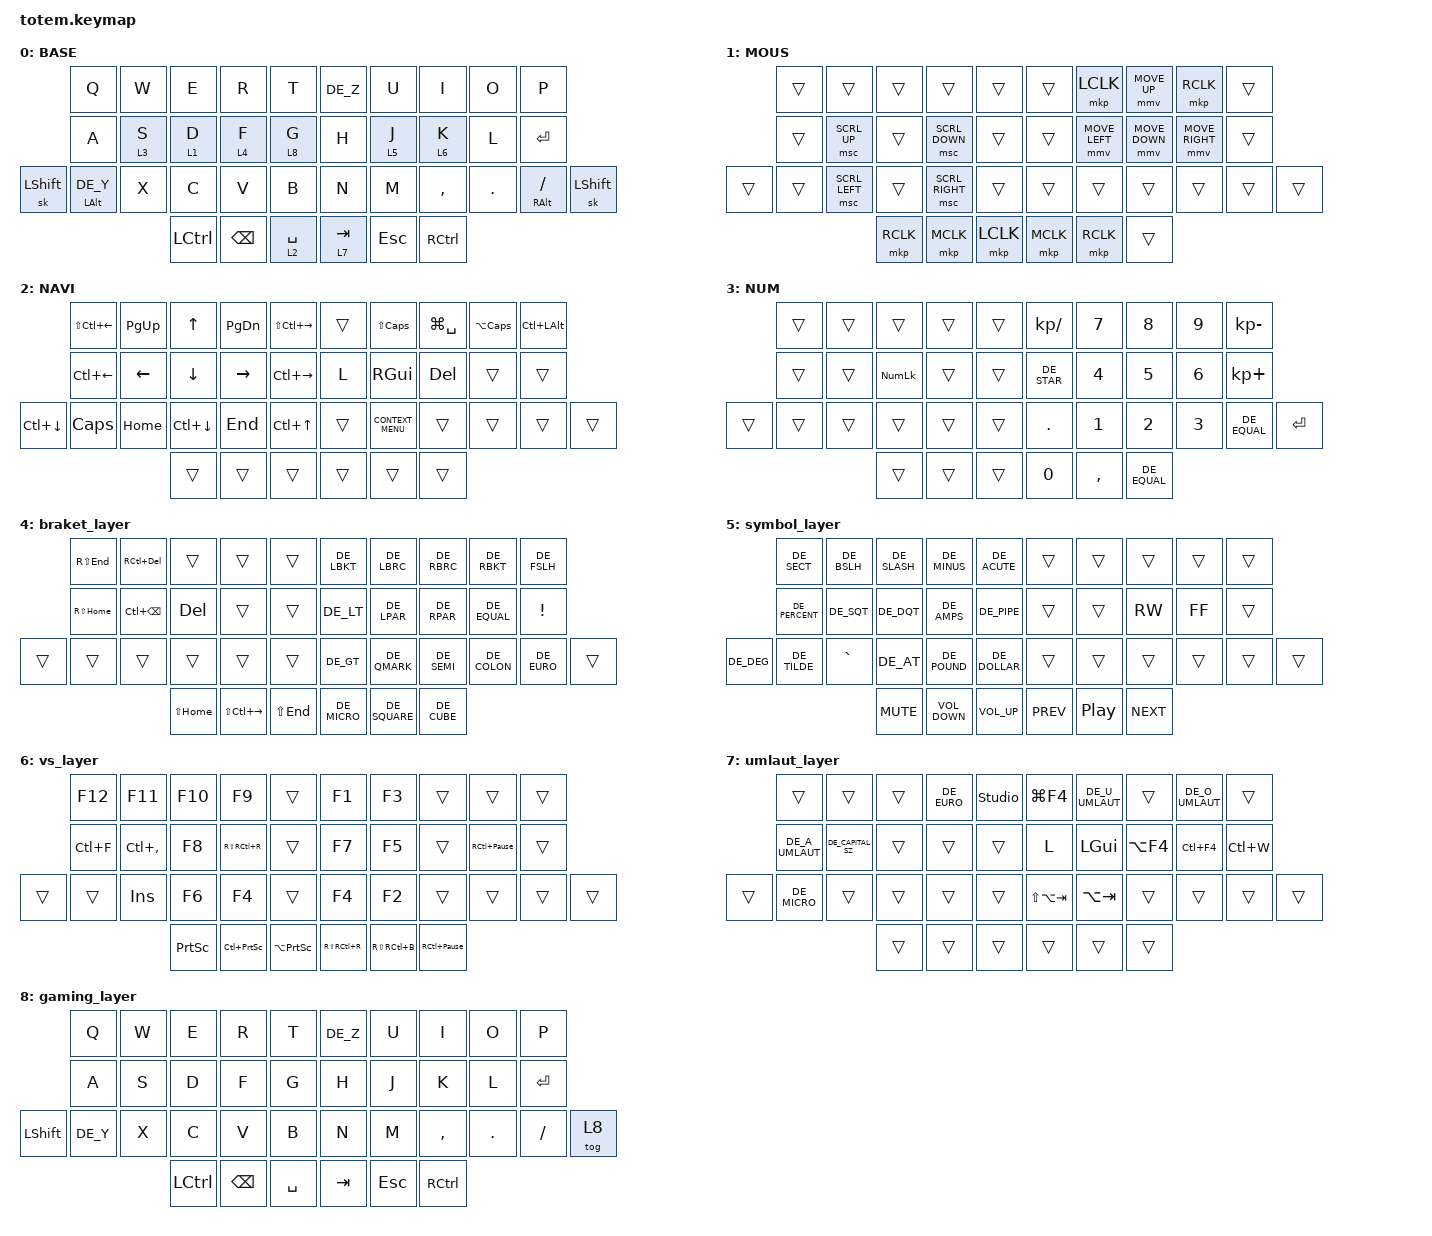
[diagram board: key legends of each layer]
//
//                                                        ▀▀▀▀▀     ▀▀▀▀▀          ▀▀█▀▀
//                                                        ▄▀▀▀▄  ▄  ▄▀▀▀▄  ▄  ▄▀▀▀▄  █  ▄▀▀▀▄
//                                                        █   █  █  █   █  █  █   █  █  █   █
//                                                         ▀▀▀   █   ▀▀▀   █   ▀▀▀   ▀   ▀▀▀
//                                                               █      ▄▄▄█▄▄▄    █   █ nnnyyw
//                                                               ▀      █  █  █     █▄█
//                                                             ▀▀▀▀▀    █  █  █      ▀
//                                                                      ▀  ▀  ▀
//
// ▄▄▄▄▄▄▄▄▄▄▄▄▄▄▄▄▄▄▄▄▄▄▄▄▄▄▄▄▄▄▄▄▄▄▄▄▄▄▄▄▄▄▄▄▄▄▄▄▄▄▄▄▄▄▄▄▄▄▄▄▄▄▄▄▄▄▄▄▄▄▄▄▄▄▄▄▄▄▄▄▄▄▄▄▄▄▄▄▄▄▄▄▄▄▄▄▄▄▄▄▄▄▄▄▄▄▄▄▄▄▄▄▄▄▄▄▄▄▄▄▄▄▄▄▄▄▄▄▄▄▄▄▄▄▄▄▄▄▄▄▄▄▄▄▄▄▄▄▄

#include <behaviors.dtsi>
#include <dt-bindings/zmk/bt.h>
#include <dt-bindings/zmk/keys.h>
#include <dt-bindings/zmk/pointing.h>
#include <dt-bindings/zmk/ext_power.h>
#include <locale/keys_de.h>


#define ZMK_POINTING_DEFAULT_SCRL_VAL 200

&sk {
    release-after-ms = <1000>;
    quick-release;
};

&msc {
    trigger-period-ms = <2>;
    acceleration-exponent = <2>;
};


/ {
    combos { compatible = "zmk,combos"; };

    keymap {
        compatible = "zmk,keymap";

        base_layer {
            label = "BASE";
            bindings = <
                &kp Q           &kp W    &kp E      &kp R     &kp T          &kp DE_Z      &kp U    &kp I      &kp O    &kp P
                &kp A           &lt 3 S  &lt 1 D    &lt 4 F   &lt 8 G        &kp H      &lt 5 J  &lt 6 K    &kp L    &kp ENTER
&sk LEFT_SHIFT  &mt LEFT_ALT DE_Y  &kp X    &kp C      &kp V     &kp B       &kp N      &kp M    &kp COMMA  &kp DOT  &mt RIGHT_ALT SLASH  &sk LEFT_SHIFT
                                         &kp LCTRL  &kp BSPC  &lt 2 SPACE    &lt 7 TAB  &kp ESC  &kp RCTRL
            >;
        };

        mouse_layer {
            label = "MOUS";
            bindings = <
        &trans  &trans          &trans     &trans           &trans       &trans     &mkp LCLK       &mmv MOVE_UP    &mkp RCLK        &trans
        &trans  &msc SCRL_UP    &trans     &msc SCRL_DOWN   &trans       &trans     &mmv MOVE_LEFT  &mmv MOVE_DOWN  &mmv MOVE_RIGHT  &trans
&trans  &trans  &msc SCRL_LEFT  &trans     &msc SCRL_RIGHT  &trans       &trans     &trans          &trans          &trans           &trans  &trans
                                &mkp RCLK  &mkp MCLK        &mkp LCLK    &mkp MCLK  &mkp RCLK       &trans
            >;
        };

        nav_layer {
            label = "NAVI";
            bindings = <
              &kp LS(LC(LEFT))  &kp PG_UP  &kp UP        &kp PG_DN  &kp LS(LC(RIGHT))    &trans  &kp LS(CAPS)        &kp LG(SPACE)  &kp LA(CAPS)  &kp LC(LALT)
              &kp LC(LEFT)      &kp LEFT   &kp DOWN      &kp RIGHT  &kp LC(RIGHT)        &kp L   &kp RGUI            &kp DEL        &trans        &trans
&kp LC(DOWN)  &kp CAPS          &kp HOME   &kp LC(DOWN)  &kp END    &kp LC(UP)           &trans  &kp K_CONTEXT_MENU  &trans         &trans        &trans        &trans
                                           &trans        &trans     &trans               &trans  &trans              &trans
            >;
        };

        num_layer {
            bindings = <
        &trans  &trans  &trans          &trans  &trans    &kp KP_DIVIDE   &kp N7    &kp N8  &kp N9  &kp KP_MINUS
        &trans  &trans  &kp KP_NUMLOCK  &trans  &trans    &kp DE_STAR     &kp N4    &kp N5  &kp N6  &kp KP_PLUS
&trans  &trans  &trans  &trans          &trans  &trans    &kp PERIOD      &kp N1    &kp N2  &kp N3  &kp DE_EQUAL    &kp ENTER
                        &trans          &trans  &trans    &kp N0          &kp COMMA &kp DE_EQUAL
            >;

            label = "NUM";
        };

        braket_layer {
            bindings = <
        &kp RS(END)    &kp RC(DELETE)     &trans        &trans             &trans         &kp DE_LBKT    &kp DE_LBRC    &kp DE_RBRC    &kp DE_RBKT   &kp DE_FSLH
        &kp RS(HOME)   &kp LC(BACKSPACE)  &kp DEL       &trans             &trans         &kp DE_LT      &kp DE_LPAR    &kp DE_RPAR    &kp DE_EQUAL  &kp EXCL
&trans  &trans         &trans             &trans        &trans             &trans         &kp DE_GT      &kp DE_QMARK   &kp DE_SEMI    &kp DE_COLON  &kp DE_EURO   &trans
                                          &kp LS(HOME)  &kp LS(LC(RIGHT))  &kp LS(END)    &kp DE_MICRO   &kp DE_SQUARE  &kp DE_CUBE
            >;
        };

        symbol_layer {
            bindings = <
             &kp DE_SECT     &kp DE_BSLH   &kp DE_SLASH   &kp DE_MINUS       &kp DE_ACUTE        &trans      &trans            &trans      &trans    &trans
             &kp DE_PERCENT  &kp DE_SQT    &kp DE_DQT     &kp DE_AMPS        &kp DE_PIPE         &trans      &trans            &kp C_RW    &kp C_FF  &trans
&kp DE_DEG   &kp DE_TILDE    &kp GRAVE     &kp DE_AT      &kp DE_POUND       &kp DE_DOLLAR       &trans      &trans            &trans      &trans    &trans  &trans
                                           &kp C_MUTE     &kp C_VOLUME_DOWN  &kp C_VOLUME_UP     &kp C_PREV  &kp C_PLAY_PAUSE  &kp C_NEXT
            >;
        };

        vs_layer {
            bindings = <
        &kp F12     &kp F11            &kp F10          &kp F9               &trans                 &kp F1         &kp F3         &trans               &trans               &trans
        &kp LC(F)  &kp LC(COMMA)       &kp F8           &kp RS(RC(R))        &trans                 &kp F7         &kp F5         &trans               &kp RC(PAUSE_BREAK)  &trans
&trans  &trans     &kp INS             &kp F6           &kp F4               &trans                 &kp F4         &kp F2         &trans               &trans               &trans  &trans
                                       &kp PRINTSCREEN  &kp LC(PRINTSCREEN)  &kp LA(PRINTSCREEN)    &kp RS(RC(R))  &kp RS(RC(B))  &kp RC(PAUSE_BREAK)
            >;
        };

        umlaut_layer {
            bindings = <
        &trans            &trans             &trans  &kp DE_EURO    &studio_unlock    &kp LG(F4)          &kp DE_U_UMLAUT   &trans      &kp DE_O_UMLAUT   &trans
        &kp DE_A_UMLAUT   &kp DE_CAPITAL_SZ  &trans  &trans         &trans    &kp L            &kp LEFT_GUI      &kp LA(F4)  &kp LC(F4)        &kp LC(W)
&trans  &kp DE_MICRO      &trans             &trans  &trans         &trans    &kp LS(LA(TAB))  &kp LA(TAB)       &trans      &trans            &trans     &trans
                                             &trans  &trans         &trans    &trans           &trans            &trans
            >;
        };
         
         gaming_layer {
            bindings = <
            &kp Q     &kp W     &kp E    &kp R    &kp T        &kp DE_Z   &kp U   &kp I    &kp O    &kp P
            &kp A     &kp S     &kp D    &kp F    &kp G        &kp H      &kp J   &kp K    &kp L    &kp ENTER
&kp LEFT_SHIFT        &kp DE_Y  &kp X    &kp C    &kp V       &kp B       &kp N   &kp M    &kp COMMA  &kp DOT  &kp SLASH  &tog 8
                        &kp LCTRL  &kp BSPC  &kp SPACE    &kp TAB  &kp ESC  &kp RCTRL
            >;
        };
    };
};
